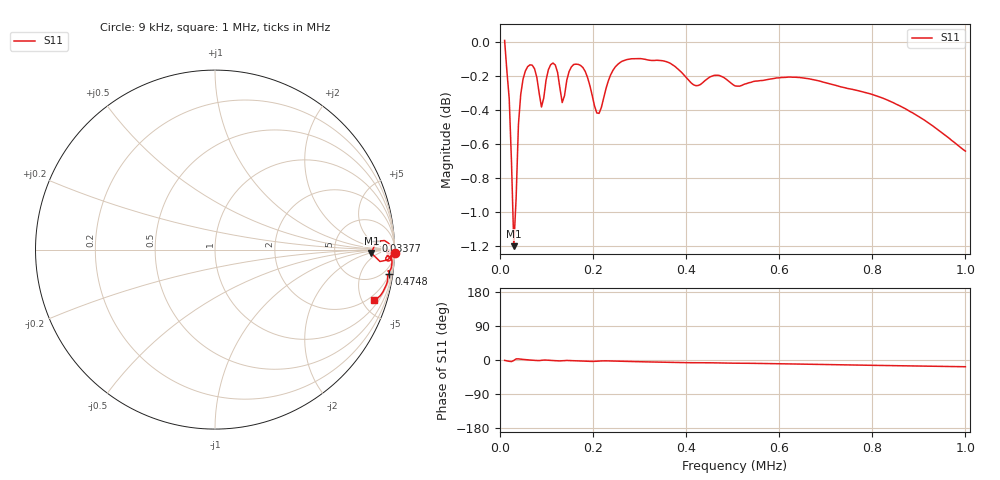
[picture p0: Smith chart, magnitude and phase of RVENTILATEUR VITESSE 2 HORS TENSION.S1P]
!Agilent Technologies,E5071C,MY46109397,A.09.54
!Date: Mon Jan 01 01:24:03 2001
!Data & Calibration Information:
!Freq	S11:SOLT1(ON)
# Hz S RI R 50
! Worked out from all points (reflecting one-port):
!   201 points, 9 kHz to 1 MHz, reference 50 ohm
!   lowest |S11| = -1.2 dB at 28.82 kHz (marker M1), VSWR 14.52, Z = 708 - j112 ohm
!   phase of S11 starts at -1 deg and turns -17 deg over the sweep
!   S11 on the Smith chart (normalised r, x): 9 kHz: open; 33.77 kHz: 15, +8; 474.8 kHz: 2, -14; 1 MHz: 1.47, -6.06
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9000  1.001 -0.0183
18910  0.9606 -0.0578
23865  0.9192 -0.0663
28820  0.8709 -0.019
33775  0.8987 0.0467
38730  0.9444 0.0504
43685  0.9644 0.0374
53595  0.9804 0.0161
78370  0.9759 -0.0228
88280  0.9569 -0.0157
98190  0.9746 -0.00358
118010  0.984 -0.0311
127920  0.9685 -0.0408
132875  0.9593 -0.0321
142785  0.9743 -0.0205
167560  0.9839 -0.0439
192335  0.9689 -0.0632
212155  0.9517 -0.0463
227020  0.9682 -0.0374
256750  0.9845 -0.0554
380625  0.9754 -0.1145
420265  0.9635 -0.1194
474770  0.9677 -0.1351
504500  0.9603 -0.1418
628375  0.9602 -0.1772
752250  0.9437 -0.2188
876125  0.9194 -0.258
1000000  0.8847 -0.283
